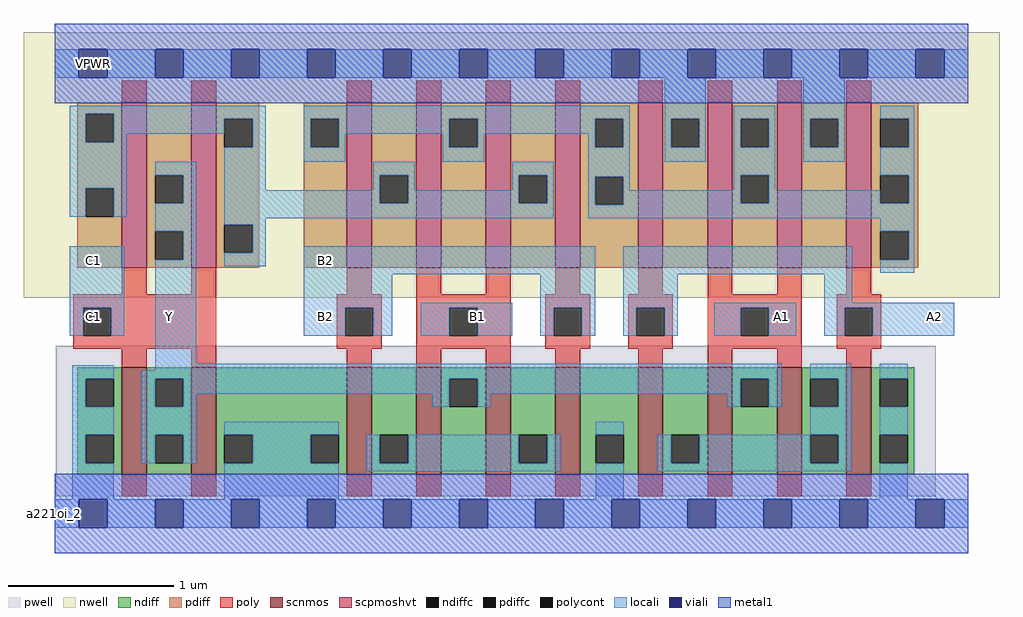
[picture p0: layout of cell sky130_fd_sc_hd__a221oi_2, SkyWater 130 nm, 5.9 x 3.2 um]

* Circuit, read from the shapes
.subckt sky130_fd_sc_hd__a221oi_2 VGND VPWR VPB VNB A2 A1 B1 B2 Y C1
XM1 Y C1 VGND VNB sky130_fd_pr__nfet_01v8 w=0.65 l=0.15 m=2
XM2 n1 B2 VGND VNB sky130_fd_pr__nfet_01v8 w=0.65 l=0.15 m=2
XM3 Y B1 n1 VNB sky130_fd_pr__nfet_01v8 w=0.65 l=0.15 m=2
XM4 n2 A2 VGND VNB sky130_fd_pr__nfet_01v8 w=0.65 l=0.15 m=2
XM5 Y A1 n2 VNB sky130_fd_pr__nfet_01v8 w=0.65 l=0.15 m=2
XM6 Y C1 n3 VPB sky130_fd_pr__pfet_01v8_hvt w=1 l=0.15 m=2
XM7 n3 B2 n4 VPB sky130_fd_pr__pfet_01v8_hvt w=1 l=0.15 m=2
XM8 n4 B1 n3 VPB sky130_fd_pr__pfet_01v8_hvt w=1 l=0.15 m=2
XM9 VPWR A2 n4 VPB sky130_fd_pr__pfet_01v8_hvt w=1 l=0.15 m=2
XM10 n4 A1 VPWR VPB sky130_fd_pr__pfet_01v8_hvt w=1 l=0.15 m=2
.ends

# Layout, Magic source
magic
tech sky130B
magscale 1 2
<< nwell >>
rect -38 221 1142 542
<< pwell >>
rect 1 -19 1065 163
rect 30 -57 64 -19
<< scnmos >>
rect 81 7 111 137
rect 165 7 195 137
rect 353 7 383 137
rect 437 7 467 137
rect 521 7 551 137
rect 605 7 635 137
rect 705 7 735 137
rect 789 7 819 137
rect 873 7 903 137
rect 957 7 987 137
<< scpmoshvt >>
rect 81 257 111 457
rect 165 257 195 457
rect 353 257 383 457
rect 437 257 467 457
rect 521 257 551 457
rect 605 257 635 457
rect 705 257 735 457
rect 789 257 819 457
rect 873 257 903 457
rect 957 257 987 457
<< ndiff >>
rect 27 123 81 137
rect 27 89 37 123
rect 71 89 81 123
rect 27 55 81 89
rect 27 21 37 55
rect 71 21 81 55
rect 27 7 81 21
rect 111 123 165 137
rect 111 89 121 123
rect 155 89 165 123
rect 111 55 165 89
rect 111 21 121 55
rect 155 21 165 55
rect 111 7 165 21
rect 195 55 353 137
rect 195 21 205 55
rect 239 21 309 55
rect 343 21 353 55
rect 195 7 353 21
rect 383 55 437 137
rect 383 21 393 55
rect 427 21 437 55
rect 383 7 437 21
rect 467 123 521 137
rect 467 89 477 123
rect 511 89 521 123
rect 467 7 521 89
rect 551 55 605 137
rect 551 21 561 55
rect 595 21 605 55
rect 551 7 605 21
rect 635 55 705 137
rect 635 21 654 55
rect 688 21 705 55
rect 635 7 705 21
rect 735 55 789 137
rect 735 21 745 55
rect 779 21 789 55
rect 735 7 789 21
rect 819 123 873 137
rect 819 89 829 123
rect 863 89 873 123
rect 819 7 873 89
rect 903 123 957 137
rect 903 89 913 123
rect 947 89 957 123
rect 903 55 957 89
rect 903 21 913 55
rect 947 21 957 55
rect 903 7 957 21
rect 987 123 1039 137
rect 987 89 997 123
rect 1031 89 1039 123
rect 987 55 1039 89
rect 987 21 997 55
rect 1031 21 1039 55
rect 987 7 1039 21
<< pdiff >>
rect 27 443 81 457
rect 27 409 37 443
rect 71 409 81 443
rect 27 353 81 409
rect 27 319 37 353
rect 71 319 81 353
rect 27 257 81 319
rect 111 369 165 457
rect 111 335 121 369
rect 155 335 165 369
rect 111 301 165 335
rect 111 267 121 301
rect 155 267 165 301
rect 111 257 165 267
rect 195 437 247 457
rect 195 403 205 437
rect 239 403 247 437
rect 195 309 247 403
rect 195 275 205 309
rect 239 275 247 309
rect 195 257 247 275
rect 301 437 353 457
rect 301 403 309 437
rect 343 403 353 437
rect 301 257 353 403
rect 383 369 437 457
rect 383 335 393 369
rect 427 335 437 369
rect 383 257 437 335
rect 467 437 521 457
rect 467 403 477 437
rect 511 403 521 437
rect 467 257 521 403
rect 551 369 605 457
rect 551 335 561 369
rect 595 335 605 369
rect 551 257 605 335
rect 635 437 705 457
rect 635 403 653 437
rect 687 403 705 437
rect 635 367 705 403
rect 635 333 653 367
rect 687 333 705 367
rect 635 257 705 333
rect 735 437 789 457
rect 735 403 745 437
rect 779 403 789 437
rect 735 257 789 403
rect 819 437 873 457
rect 819 403 829 437
rect 863 403 873 437
rect 819 369 873 403
rect 819 335 829 369
rect 863 335 873 369
rect 819 257 873 335
rect 903 437 957 457
rect 903 403 913 437
rect 947 403 957 437
rect 903 257 957 403
rect 987 437 1044 457
rect 987 403 998 437
rect 1032 403 1044 437
rect 987 369 1044 403
rect 987 335 998 369
rect 1032 335 1044 369
rect 987 301 1044 335
rect 987 267 998 301
rect 1032 267 1044 301
rect 987 257 1044 267
<< ndiffc >>
rect 37 89 71 123
rect 37 21 71 55
rect 121 89 155 123
rect 121 21 155 55
rect 205 21 239 55
rect 309 21 343 55
rect 393 21 427 55
rect 477 89 511 123
rect 561 21 595 55
rect 654 21 688 55
rect 745 21 779 55
rect 829 89 863 123
rect 913 89 947 123
rect 913 21 947 55
rect 997 89 1031 123
rect 997 21 1031 55
<< pdiffc >>
rect 37 409 71 443
rect 37 319 71 353
rect 121 335 155 369
rect 121 267 155 301
rect 205 403 239 437
rect 205 275 239 309
rect 309 403 343 437
rect 393 335 427 369
rect 477 403 511 437
rect 561 335 595 369
rect 653 403 687 437
rect 653 333 687 367
rect 745 403 779 437
rect 829 403 863 437
rect 829 335 863 369
rect 913 403 947 437
rect 998 403 1032 437
rect 998 335 1032 369
rect 998 267 1032 301
<< poly >>
rect 81 457 111 483
rect 165 457 195 483
rect 353 457 383 483
rect 437 457 467 483
rect 521 457 551 483
rect 605 457 635 483
rect 705 457 735 483
rect 789 457 819 483
rect 873 457 903 483
rect 957 457 987 483
rect 81 225 111 257
rect 165 225 195 257
rect 353 225 383 257
rect 437 225 467 257
rect 521 225 551 257
rect 605 225 635 257
rect 705 225 735 257
rect 789 225 819 257
rect 873 225 903 257
rect 957 225 987 257
rect 22 209 195 225
rect 22 175 34 209
rect 68 175 195 209
rect 22 159 195 175
rect 341 209 395 225
rect 341 175 351 209
rect 385 175 395 209
rect 341 159 395 175
rect 437 209 551 225
rect 437 175 477 209
rect 511 175 551 209
rect 437 159 551 175
rect 593 209 647 225
rect 593 175 603 209
rect 637 175 647 209
rect 593 159 647 175
rect 693 209 747 225
rect 693 175 703 209
rect 737 175 747 209
rect 693 159 747 175
rect 789 209 903 225
rect 789 175 829 209
rect 863 175 903 209
rect 789 159 903 175
rect 945 209 999 225
rect 945 175 955 209
rect 989 175 999 209
rect 945 159 999 175
rect 81 137 111 159
rect 165 137 195 159
rect 353 137 383 159
rect 437 137 467 159
rect 521 137 551 159
rect 605 137 635 159
rect 705 137 735 159
rect 789 137 819 159
rect 873 137 903 159
rect 957 137 987 159
rect 81 -19 111 7
rect 165 -19 195 7
rect 353 -19 383 7
rect 437 -19 467 7
rect 521 -19 551 7
rect 605 -19 635 7
rect 705 -19 735 7
rect 789 -19 819 7
rect 873 -19 903 7
rect 957 -19 987 7
<< polycont >>
rect 34 175 68 209
rect 351 175 385 209
rect 477 175 511 209
rect 603 175 637 209
rect 703 175 737 209
rect 829 175 863 209
rect 955 175 989 209
<< locali >>
rect 0 487 29 521
rect 63 487 121 521
rect 155 487 213 521
rect 247 487 305 521
rect 339 487 397 521
rect 431 487 489 521
rect 523 487 581 521
rect 615 487 673 521
rect 707 487 765 521
rect 799 487 857 521
rect 891 487 949 521
rect 983 487 1041 521
rect 1075 487 1104 521
rect 18 443 255 453
rect 18 409 37 443
rect 71 437 255 443
rect 71 419 205 437
rect 71 409 87 419
rect 18 353 87 409
rect 239 403 255 437
rect 18 319 37 353
rect 71 319 87 353
rect 121 369 171 385
rect 155 335 171 369
rect 121 301 171 335
rect 18 209 84 283
rect 18 175 34 209
rect 68 175 84 209
rect 155 267 171 301
rect 121 141 171 267
rect 205 351 255 403
rect 301 437 695 453
rect 301 403 309 437
rect 343 419 477 437
rect 343 403 351 419
rect 301 385 351 403
rect 469 403 477 419
rect 511 419 653 437
rect 511 403 519 419
rect 469 385 519 403
rect 645 403 653 419
rect 687 403 695 437
rect 385 369 435 385
rect 385 351 393 369
rect 205 335 393 351
rect 427 351 435 369
rect 553 369 603 385
rect 553 351 561 369
rect 427 335 561 351
rect 595 335 603 369
rect 205 317 603 335
rect 645 367 695 403
rect 737 437 787 487
rect 737 403 745 437
rect 779 403 787 437
rect 737 385 787 403
rect 821 437 871 453
rect 821 403 829 437
rect 863 403 871 437
rect 645 333 653 367
rect 687 351 695 367
rect 821 369 871 403
rect 905 437 955 487
rect 905 403 913 437
rect 947 403 955 437
rect 905 385 955 403
rect 998 437 1039 453
rect 1032 403 1039 437
rect 821 351 829 369
rect 687 335 829 351
rect 863 351 871 369
rect 998 369 1039 403
rect 863 335 998 351
rect 1032 335 1039 369
rect 687 333 1039 335
rect 645 317 1039 333
rect 205 309 255 317
rect 239 275 255 309
rect 998 301 1039 317
rect 205 259 255 275
rect 301 249 653 283
rect 301 209 408 249
rect 301 175 351 209
rect 385 175 408 209
rect 442 209 553 215
rect 442 175 477 209
rect 511 175 553 209
rect 587 209 653 249
rect 587 175 603 209
rect 637 175 653 209
rect 687 249 964 283
rect 1032 267 1039 301
rect 998 251 1039 267
rect 687 209 753 249
rect 930 215 964 249
rect 687 175 703 209
rect 737 175 753 209
rect 797 209 896 215
rect 797 175 829 209
rect 863 175 896 209
rect 930 209 1087 215
rect 930 175 955 209
rect 989 175 1087 209
rect 21 123 71 139
rect 121 133 879 141
rect 21 89 37 123
rect 21 55 71 89
rect 21 21 37 55
rect 105 123 879 133
rect 105 89 121 123
rect 155 105 477 123
rect 155 89 171 105
rect 457 89 477 105
rect 511 105 829 123
rect 511 89 527 105
rect 813 89 829 105
rect 863 89 879 123
rect 913 123 963 141
rect 947 89 963 123
rect 105 55 171 89
rect 105 21 121 55
rect 155 21 171 55
rect 205 55 343 71
rect 654 55 688 71
rect 913 55 963 89
rect 239 21 309 55
rect 21 -23 71 21
rect 205 -23 343 21
rect 377 21 393 55
rect 427 21 561 55
rect 595 21 611 55
rect 377 11 611 21
rect 654 -23 688 21
rect 729 21 745 55
rect 779 21 913 55
rect 947 21 963 55
rect 729 11 963 21
rect 997 123 1031 141
rect 997 55 1031 89
rect 997 -23 1031 21
rect 0 -57 29 -23
rect 63 -57 121 -23
rect 155 -57 213 -23
rect 247 -57 305 -23
rect 339 -57 397 -23
rect 431 -57 489 -23
rect 523 -57 581 -23
rect 615 -57 673 -23
rect 707 -57 765 -23
rect 799 -57 857 -23
rect 891 -57 949 -23
rect 983 -57 1041 -23
rect 1075 -57 1104 -23
<< viali >>
rect 29 487 63 521
rect 121 487 155 521
rect 213 487 247 521
rect 305 487 339 521
rect 397 487 431 521
rect 489 487 523 521
rect 581 487 615 521
rect 673 487 707 521
rect 765 487 799 521
rect 857 487 891 521
rect 949 487 983 521
rect 1041 487 1075 521
rect 29 -57 63 -23
rect 121 -57 155 -23
rect 213 -57 247 -23
rect 305 -57 339 -23
rect 397 -57 431 -23
rect 489 -57 523 -23
rect 581 -57 615 -23
rect 673 -57 707 -23
rect 765 -57 799 -23
rect 857 -57 891 -23
rect 949 -57 983 -23
rect 1041 -57 1075 -23
<< metal1 >>
rect 0 521 1104 552
rect 0 487 29 521
rect 63 487 121 521
rect 155 487 213 521
rect 247 487 305 521
rect 339 487 397 521
rect 431 487 489 521
rect 523 487 581 521
rect 615 487 673 521
rect 707 487 765 521
rect 799 487 857 521
rect 891 487 949 521
rect 983 487 1041 521
rect 1075 487 1104 521
rect 0 456 1104 487
rect 0 -23 1104 8
rect 0 -57 29 -23
rect 63 -57 121 -23
rect 155 -57 213 -23
rect 247 -57 305 -23
rect 339 -57 397 -23
rect 431 -57 489 -23
rect 523 -57 581 -23
rect 615 -57 673 -23
rect 707 -57 765 -23
rect 799 -57 857 -23
rect 891 -57 949 -23
rect 983 -57 1041 -23
rect 1075 -57 1104 -23
rect 0 -88 1104 -57
<< labels >>
rlabel comment s 0 -40 0 -40 4 a221oi_2
flabel metal1 s 30 -57 64 -23 0 FreeSans 200 0 0 0 VGND
port 2 nsew
flabel metal1 s 30 487 64 521 0 FreeSans 200 0 0 0 VPWR
port 3 nsew
flabel nwell s 30 487 64 521 0 FreeSans 200 0 0 0 VPB
port 5 nsew
flabel pwell s 30 -57 64 -23 0 FreeSans 200 0 0 0 VNB
port 6 nsew
flabel locali s 310 249 344 283 0 FreeSans 400 0 0 0 B2
port 10 nsew
flabel locali s 30 181 64 215 0 FreeSans 400 0 0 0 C1
port 13 nsew
flabel locali s 1046 181 1080 215 0 FreeSans 400 180 0 0 A2
port 7 nsew
flabel locali s 862 181 896 215 0 FreeSans 400 180 0 0 A1
port 8 nsew
flabel locali s 494 181 528 215 0 FreeSans 400 0 0 0 B1
port 9 nsew
flabel locali s 310 181 344 215 0 FreeSans 400 0 0 0 B2
port 10 nsew
flabel locali s 122 181 156 215 0 FreeSans 400 0 0 0 Y
port 12 nsew
flabel locali s 30 249 64 283 0 FreeSans 400 0 0 0 C1
port 13 nsew
<< properties >>
string FIXED_BBOX 0 -40 1104 504
string path 0.000 -1.000 27.600 -1.000 
<< end >>
